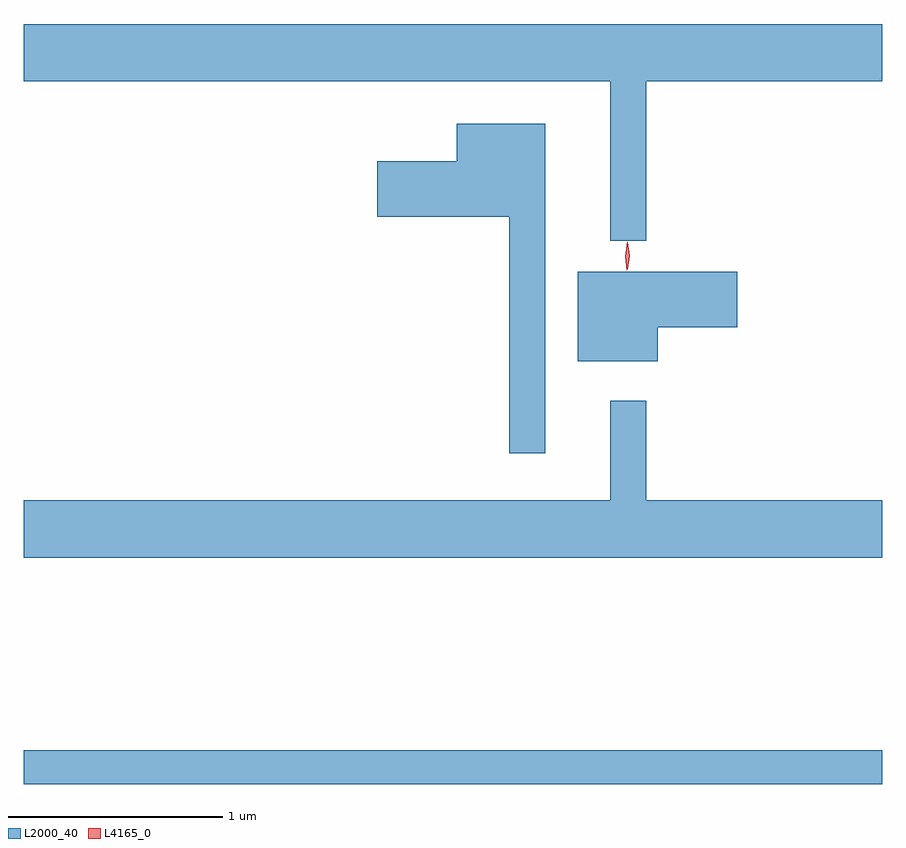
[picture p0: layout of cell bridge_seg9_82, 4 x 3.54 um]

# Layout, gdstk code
import gdstk
lib = gdstk.Library(unit=1e-6, precision=1e-09)
def R(c, l, rs):  # rectangles x0, y0, x1, y1
    for r in rs: c.add(gdstk.rectangle(r[:2], r[2:], *l))
def P(c, l, *ps):  # polygons
    for p in ps: c.add(gdstk.Polygon(p, *l))
L2000_40 = (2000, 40)
L4165_0 = (4165, 0)

bridge_seg9_82 = lib.new_cell('bridge_seg9_82')
R(bridge_seg9_82, L2000_40, [(1788.369,1995.201,1792.369,1995.359)])
P(bridge_seg9_82, L2000_40, [(1791.269,1998.476),(1792.369,1998.476),(1792.369,1998.744),(1788.369,1998.744),(1788.369,1998.476),(1791.101,1998.476),(1791.101,1997.733),(1791.269,1997.733)],
  [(1790.799,1998.279),(1790.386,1998.279),(1790.386,1998.104),(1790.016,1998.104),(1790.016,1997.846),(1790.631,1997.846),(1790.631,1996.743),(1790.799,1996.743)],
  [(1791.324,1997.331),(1791.694,1997.331),(1791.694,1997.589),(1790.951,1997.589),(1790.951,1997.171),(1791.324,1997.171)],
  [(1792.369,1996.524),(1791.269,1996.524),(1791.269,1996.988),(1791.101,1996.988),(1791.101,1996.524),(1788.369,1996.524),(1788.369,1996.256),(1792.369,1996.256)])
P(bridge_seg9_82, L4165_0, [(1791.179,1997.594),(1791.171,1997.662),(1791.181,1997.73),(1791.182,1997.73),(1791.182,1997.73),(1791.191,1997.662),(1791.18,1997.594),(1791.18,1997.594)],
  [(1791.183,1997.6),(1791.174,1997.664),(1791.183,1997.726),(1791.184,1997.727),(1791.184,1997.726),(1791.193,1997.664),(1791.184,1997.6),(1791.184,1997.6)])

lib.write_gds('bridge_seg9_82.gds')
